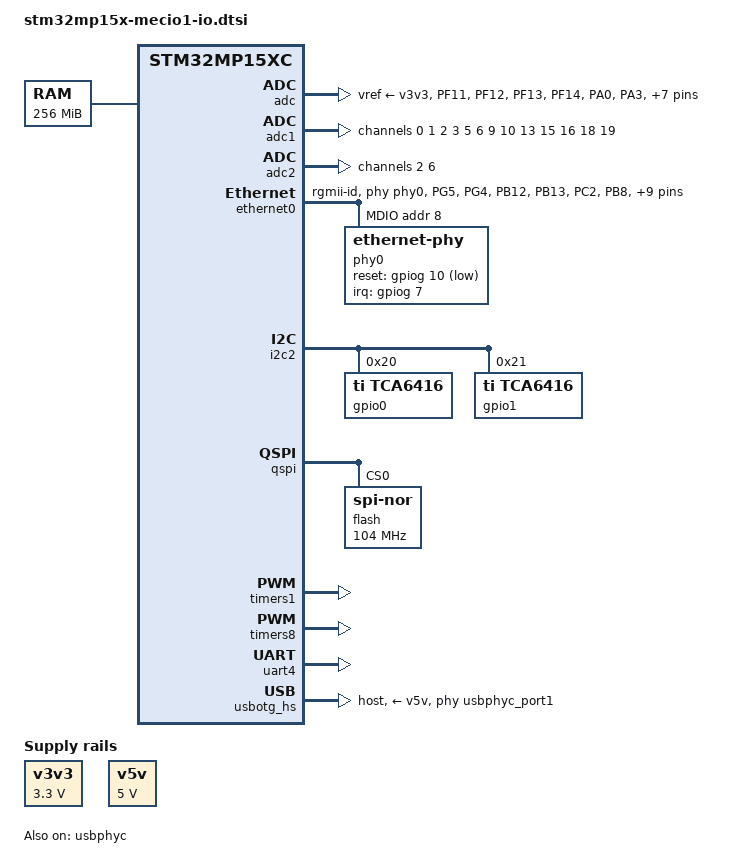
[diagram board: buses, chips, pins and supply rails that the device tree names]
// SPDX-License-Identifier: (GPL-2.0+ OR BSD-3-Clause)
/*
 * Copyright (C) Protonic Holland
 * Author: David Jander <david@protonic.nl>
 */

#include "stm32mp15xc.dtsi"
#include "stm32mp15-pinctrl.dtsi"
#include "stm32mp15xxaa-pinctrl.dtsi"
#include <dt-bindings/gpio/gpio.h>
#include <dt-bindings/input/input.h>

/ {
	chosen {
		stdout-path = "serial0:1500000n8";
	};

	aliases {
		serial0 = &uart4;
		ethernet0 = &ethernet0;
		spi1 = &spi1;
		spi2 = &spi2;
		spi3 = &spi3;
		spi4 = &spi4;
		spi5 = &spi5;
		spi6 = &spi6;
	};

	memory@c0000000 {
		device_type = "memory";
		reg = <0xC0000000 0x10000000>;
	};

	reserved-memory {
		#address-cells = <1>;
		#size-cells = <1>;
		ranges;

		mcuram2: mcuram2@10000000 {
			compatible = "shared-dma-pool";
			reg = <0x10000000 0x40000>;
			no-map;
		};

		vdev0vring0: vdev0vring0@10040000 {
			compatible = "shared-dma-pool";
			reg = <0x10040000 0x1000>;
			no-map;
		};

		vdev0vring1: vdev0vring1@10041000 {
			compatible = "shared-dma-pool";
			reg = <0x10041000 0x1000>;
			no-map;
		};

		vdev0buffer: vdev0buffer@10042000 {
			compatible = "shared-dma-pool";
			reg = <0x10042000 0x4000>;
			no-map;
		};

		mcuram: mcuram@30000000 {
			compatible = "shared-dma-pool";
			reg = <0x30000000 0x40000>;
			no-map;
		};

		retram: retram@38000000 {
			compatible = "shared-dma-pool";
			reg = <0x38000000 0x10000>;
			no-map;
		};
	};

	v3v3: regulator-v3v3 {
		compatible = "regulator-fixed";
		regulator-name = "v3v3";
		regulator-min-microvolt = <3300000>;
		regulator-max-microvolt = <3300000>;
	};

	v5v: regulator-v5v {
		compatible = "regulator-fixed";
		regulator-name = "v5v";
		regulator-min-microvolt = <5000000>;
		regulator-max-microvolt = <5000000>;
		regulator-always-on;
	};
};

&adc {
	/* ANA0, ANA1 are dedicated pins and don't need pinctrl: only in6. */
	pinctrl-0 = <&adc12_pins_mecsbc>;
	pinctrl-names = "default";
	vdd-supply = <&v3v3>;
	vdda-supply = <&v3v3>;
	vref-supply = <&v3v3>;
	status = "okay";
};

&adc1 {
	status = "okay";

	channel@0 {
		reg = <0>;
		/* 16.5 ck_cycles sampling time */
		st,min-sample-time-ns = <5000>;
		label = "p24v_stp";
	};

	channel@1 {
		reg = <1>;
		st,min-sample-time-ns = <5000>;
		label = "p24v_hpdcm";
	};

	channel@2 {
		reg = <2>;
		st,min-sample-time-ns = <5000>;
		label = "ain0";
	};

	channel@3 {
		reg = <3>;
		st,min-sample-time-ns = <5000>;
		label = "hpdcm1_i2";
	};

	channel@5 {
		reg = <5>;
		st,min-sample-time-ns = <5000>;
		label = "hpout1_i";
	};

	channel@6 {
		reg = <6>;
		st,min-sample-time-ns = <5000>;
		label = "ain1";
	};

	channel@9 {
		reg = <9>;
		st,min-sample-time-ns = <5000>;
		label = "hpout0_i";
	};

	channel@10 {
		reg = <10>;
		st,min-sample-time-ns = <5000>;
		label = "phint0_ain";
	};

	channel@13 {
		reg = <13>;
		st,min-sample-time-ns = <5000>;
		label = "phint1_ain";
	};

	channel@15 {
		reg = <15>;
		st,min-sample-time-ns = <5000>;
		label = "hpdcm0_i1";
	};

	channel@16 {
		reg = <16>;
		st,min-sample-time-ns = <5000>;
		label = "lsin";
	};

	channel@18 {
		reg = <18>;
		st,min-sample-time-ns = <5000>;
		label = "hpdcm0_i2";
	};

	channel@19 {
		reg = <19>;
		st,min-sample-time-ns = <5000>;
		label = "hpdcm1_i1";
	};
};

&adc2 {
	status = "okay";

	channel@2 {
		reg = <2>;
		/* 16.5 ck_cycles sampling time */
		st,min-sample-time-ns = <5000>;
		label = "ain2";
	};

	channel@6 {
		reg = <6>;
		st,min-sample-time-ns = <5000>;
		label = "ain3";
	};
};

&ethernet0 {
	status = "okay";
	pinctrl-0 = <&ethernet0_rgmii_pins_x>;
	pinctrl-1 = <&ethernet0_rgmii_sleep_pins_x>;
	pinctrl-names = "default", "sleep";
	phy-mode = "rgmii-id";
	max-speed = <1000>;
	phy-handle = <&phy0>;
	st,eth-clk-sel;

	mdio {
		#address-cells = <1>;
		#size-cells = <0>;
		compatible = "snps,dwmac-mdio";
		phy0: ethernet-phy@8 {
			reg = <8>;
			interrupts-extended = <&gpiog 7 IRQ_TYPE_LEVEL_LOW>;
			reset-gpios = <&gpiog 10 GPIO_ACTIVE_LOW>;
			reset-assert-us = <10>;
			reset-deassert-us = <35>;
		};
	};
};

&gpiod {
	gpio-line-names = "", "", "", "",
			  "", "", "", "",
			  "", "", "", "",
			  "STP_RESETN", "STP_ENABLEN", "HPOUT0", "HPOUT0_ALERTN";
	pinctrl-names = "default";
	pinctrl-0 = <&pinctrl_hog_d_mecsbc>;
};

&gpioe {
	gpio-line-names = "HPOUT0_RESETN", "HPOUT1", "HPOUT1_ALERTN", "",
			  "", "", "HPOUT1_RESETN",
			  "LPOUT0", "LPOUT0_ALERTN", "GPOUT0_RESETN",
			  "LPOUT1", "LPOUT1_ALERTN", "GPOUT1_RESETN",
			  "LPOUT2", "LPOUT2_ALERTN", "GPOUT2_RESETN";
};

&gpiof {
	gpio-line-names = "LPOUT3", "LPOUT3_ALERTN", "GPOUT3_RESETN",
			  "LPOUT4", "LPOUT4_ALERTN", "GPOUT4_RESETN",
			  "", "",
			  "", "", "", "",
			  "", "", "", "";
};

&gpiog {
	gpio-line-names = "LPOUT5", "LPOUT5_ALERTN", "", "LPOUT5_RESETN",
			  "", "", "", "",
			  "", "", "", "",
			  "", "", "", "";
};

&gpioh {
	gpio-line-names = "", "", "", "",
			  "", "", "", "",
			  "GPIO0_RESETN", "", "", "",
			  "", "", "", "";
};

&gpioi {
	gpio-line-names = "", "", "", "",
			  "", "", "", "",
			  "HPDCM0_SLEEPN", "HPDCM1_SLEEPN", "GPIO1_RESETN", "",
			  "", "", "", "";
};

&gpioj {
	gpio-line-names = "HSIN10", "HSIN11", "HSIN12", "HSIN13",
			  "HSIN14", "HSIN15", "", "",
			  "", "", "", "",
			  "", "RTD_RESETN", "", "";
};

&gpiok {
	gpio-line-names = "", "", "HSIN0", "HSIN1",
			  "HSIN2", "HSIN3", "HSIN4", "HSIN5";
};

&gpioz {
	gpio-line-names = "", "", "", "HSIN6",
			  "HSIN7", "HSIN8", "HSIN9", "";
};

&i2c2 {
	pinctrl-names = "default";
	pinctrl-0 = <&i2c2_pins_a>;
	pinctrl-1 = <&i2c2_sleep_pins_a>;
	status = "okay";

	gpio0: gpio@20 {
		compatible = "ti,tca6416";
		reg = <0x20>;
		gpio-controller;
		#gpio-cells = <2>;
		gpio-line-names = "HSIN0_BIAS", "HSIN1_BIAS", "HSIN2_BIAS", "HSIN3_BIAS",
				  "", "", "HSIN_VREF0_LVL", "HSIN_VREF1_LVL",
				  "HSIN4_BIAS", "HSIN5_BIAS", "HSIN6_BIAS", "HSIN9_BIAS",
				  "", "", "", "";
	};

	gpio1: gpio@21 {
		compatible = "ti,tca6416";
		reg = <0x21>;
		gpio-controller;
		#gpio-cells = <2>;
		gpio-line-names = "HSIN8_BIAS", "HSIN9_BIAS", "HSIN10_BIAS", "HSIN11_BIAS",
				  "", "", "HSIN_VREF2_LVL", "HSIN_VREF3_LVL",
				  "HSIN12_BIAS", "HSIN13_BIAS", "HSIN14_BIAS", "HSIN15_BIAS",
				  "", "", "LSIN8_BIAS", "LSIN9_BIAS";
	};
};

&qspi {
	pinctrl-names = "default", "sleep";
	pinctrl-0 = <&qspi_clk_pins_a
		     &qspi_bk1_pins_a
		     &qspi_cs1_pins_a>;
	pinctrl-1 = <&qspi_clk_sleep_pins_a
		     &qspi_bk1_sleep_pins_a
		     &qspi_cs1_sleep_pins_a>;
	status = "okay";

	flash@0 {
		compatible = "jedec,spi-nor";
		reg = <0>;
		spi-rx-bus-width = <4>;
		spi-max-frequency = <104000000>;
		#address-cells = <1>;
		#size-cells = <1>;
	};
};

&{qspi_bk1_pins_a/pins} {
	pinmux = <STM32_PINMUX('F', 8, AF10)>, /* QSPI_BK1_IO0 */
		 <STM32_PINMUX('F', 9, AF10)>, /* QSPI_BK1_IO1 */
		 <STM32_PINMUX('F', 7, AF9)>, /* QSPI_BK1_IO2 */
		 <STM32_PINMUX('F', 6, AF9)>; /* QSPI_BK1_IO3 */
	/delete-property/ bias-disable;
	bias-pull-up;
};

&timers1 {
	/delete-property/dmas;
	/delete-property/dma-names;
	status = "okay";

	hpdcm0_pwm: pwm {
		pinctrl-names = "default", "sleep";
		pinctrl-0 = <&pwm1_pins_mecio1>;
		pinctrl-1 = <&pwm1_sleep_pins_mecio1>;
		status = "okay";
	};
};

&timers8 {
	/delete-property/dmas;
	/delete-property/dma-names;
	status = "okay";

	hpdcm1_pwm: pwm {
		pinctrl-names = "default", "sleep";
		pinctrl-0 = <&pwm8_pins_mecio1>;
		pinctrl-1 = <&pwm8_sleep_pins_mecio1>;
		status = "okay";
	};
};

&uart4 {
	pinctrl-names = "default", "sleep", "idle";
	pinctrl-0 = <&uart4_pins_a>;
	pinctrl-1 = <&uart4_sleep_pins_a>;
	pinctrl-2 = <&uart4_idle_pins_a>;
	/delete-property/dmas;
	/delete-property/dma-names;
	status = "okay";
};

&{uart4_pins_a/pins1} {
	pinmux = <STM32_PINMUX('B', 9, AF8)>; /* UART4_TX */
};

&{uart4_pins_a/pins2} {
	pinmux = <STM32_PINMUX('B', 2, AF8)>; /* UART4_RX */
	/delete-property/ bias-disable;
	bias-pull-up;
};

&usbotg_hs {
	dr_mode = "host";
	pinctrl-0 = <&usbotg_hs_pins_a>;
	pinctrl-names = "default";
	phys = <&usbphyc_port1 0>;
	phy-names = "usb2-phy";
	vbus-supply = <&v5v>;
	status = "okay";
};

&usbphyc {
	status = "okay";
};

&usbphyc_port0 {
	phy-supply = <&v3v3>;
};

&usbphyc_port1 {
	phy-supply = <&v3v3>;
};

&pinctrl {
	adc12_pins_mecsbc: adc12-ain-mecsbc-0 {
		pins {
			pinmux = <STM32_PINMUX('F', 11, ANALOG)>, /* ADC1_INP2 */
				 <STM32_PINMUX('F', 12, ANALOG)>, /* ADC1_INP6 */
				 <STM32_PINMUX('F', 13, ANALOG)>, /* ADC2_INP2 */
				 <STM32_PINMUX('F', 14, ANALOG)>, /* ADC2_INP6 */
				 <STM32_PINMUX('A', 0, ANALOG)>, /* ADC1_INP16 */
				 <STM32_PINMUX('A', 3, ANALOG)>, /* ADC1_INP15 */
				 <STM32_PINMUX('A', 4, ANALOG)>, /* ADC1_INP18 */
				 <STM32_PINMUX('A', 5, ANALOG)>, /* ADC1_INP19 */
				 <STM32_PINMUX('A', 6, ANALOG)>, /* ADC1_INP3 */
				 <STM32_PINMUX('B', 0, ANALOG)>, /* ADC1_INP9 */
				 <STM32_PINMUX('B', 1, ANALOG)>, /* ADC1_INP5 */
				 <STM32_PINMUX('C', 0, ANALOG)>, /* ADC1_INP10 */
				 <STM32_PINMUX('C', 3, ANALOG)>; /* ADC1_INP13 */
		};
	};

	pinctrl_hog_d_mecsbc: hog-d-0 {
		pins {
			pinmux = <STM32_PINMUX('D', 12, GPIO)>; /* STP_RESETn */
			bias-pull-up;
			drive-push-pull;
			slew-rate = <0>;
		};
	};

	pwm1_pins_mecio1: pwm1-mecio1-0 {
		pins {
			pinmux = <STM32_PINMUX('A', 8, AF1)>, /* TIM1_CH1 */
				 <STM32_PINMUX('A', 8, AF1)>; /* TIM1_CH2 */
			bias-pull-down;
			drive-push-pull;
			slew-rate = <0>;
		};
	};

	pwm1_sleep_pins_mecio1: pwm1-sleep-mecio1-0 {
		pins {
			pinmux = <STM32_PINMUX('A', 8, ANALOG)>, /* TIM1_CH1 */
				 <STM32_PINMUX('A', 8, ANALOG)>; /* TIM1_CH2 */
		};
	};

	pwm8_pins_mecio1: pwm8-mecio1-0 {
		pins {
			pinmux = <STM32_PINMUX('I', 5, AF3)>, /* TIM8_CH1 */
				 <STM32_PINMUX('I', 6, AF3)>; /* TIM8_CH2 */
			bias-pull-down;
			drive-push-pull;
			slew-rate = <0>;
		};
	};

	pwm8_sleep_pins_mecio1: pwm8-sleep-mecio1-0 {
		pins {
			pinmux = <STM32_PINMUX('I', 5, ANALOG)>, /* TIM8_CH1 */
				 <STM32_PINMUX('I', 6, ANALOG)>; /* TIM8_CH2 */
		};
	};

	ethernet0_rgmii_pins_x: rgmii-0 {
		pins1 {
			pinmux = <STM32_PINMUX('G', 5, AF11)>, /* ETH_RGMII_CLK125 */
				 <STM32_PINMUX('G', 4, AF11)>, /* ETH_RGMII_GTX_CLK */
				 <STM32_PINMUX('B', 12, AF11)>, /* ETH_RGMII_TXD0 */
				 <STM32_PINMUX('B', 13, AF11)>, /* ETH_RGMII_TXD1 */
				 <STM32_PINMUX('C', 2, AF11)>, /* ETH_RGMII_TXD2 */
				 <STM32_PINMUX('B', 8, AF11)>, /* ETH_RGMII_TXD3 */
				 <STM32_PINMUX('B', 11, AF11)>, /* ETH_RGMII_TX_CTL */
				 <STM32_PINMUX('C', 1, AF11)>; /* ETH_MDC */
			bias-disable;
			drive-push-pull;
			slew-rate = <3>;
		};
		pins2 {
			pinmux = <STM32_PINMUX('A', 2, AF11)>; /* ETH_MDIO */
			bias-disable;
			drive-push-pull;
			slew-rate = <0>;
		};
		pins3 {
			pinmux = <STM32_PINMUX('C', 4, AF11)>, /* ETH_RGMII_RXD0 */
				 <STM32_PINMUX('C', 5, AF11)>, /* ETH_RGMII_RXD1 */
				 <STM32_PINMUX('H', 6, AF11)>, /* ETH_RGMII_RXD2 */
				 <STM32_PINMUX('H', 7, AF11)>, /* ETH_RGMII_RXD3 */
				 <STM32_PINMUX('A', 1, AF11)>, /* ETH_RGMII_RX_CLK */
				 <STM32_PINMUX('A', 7, AF11)>; /* ETH_RGMII_RX_CTL */
			bias-disable;
		};
	};

	ethernet0_rgmii_sleep_pins_x: rgmii-sleep-0 {
		pins1 {
			pinmux = <STM32_PINMUX('G', 5, ANALOG)>, /* ETH_RGMII_CLK125 */
				 <STM32_PINMUX('G', 4, ANALOG)>, /* ETH_RGMII_GTX_CLK */
				 <STM32_PINMUX('B', 12, ANALOG)>, /* ETH_RGMII_TXD0 */
				 <STM32_PINMUX('B', 13, ANALOG)>, /* ETH_RGMII_TXD1 */
				 <STM32_PINMUX('C', 2, ANALOG)>, /* ETH_RGMII_TXD2 */
				 <STM32_PINMUX('B', 8, ANALOG)>, /* ETH_RGMII_TXD3 */
				 <STM32_PINMUX('B', 11, ANALOG)>, /* ETH_RGMII_TX_CTL */
				 <STM32_PINMUX('A', 2, ANALOG)>, /* ETH_MDIO */
				 <STM32_PINMUX('C', 1, ANALOG)>, /* ETH_MDC */
				 <STM32_PINMUX('C', 4, ANALOG)>, /* ETH_RGMII_RXD0 */
				 <STM32_PINMUX('C', 5, ANALOG)>, /* ETH_RGMII_RXD1 */
				 <STM32_PINMUX('H', 6, ANALOG)>, /* ETH_RGMII_RXD2 */
				 <STM32_PINMUX('H', 7, ANALOG)>, /* ETH_RGMII_RXD3 */
				 <STM32_PINMUX('A', 1, ANALOG)>, /* ETH_RGMII_RX_CLK */
				 <STM32_PINMUX('A', 7, ANALOG)>; /* ETH_RGMII_RX_CTL */
		};
	};
};
